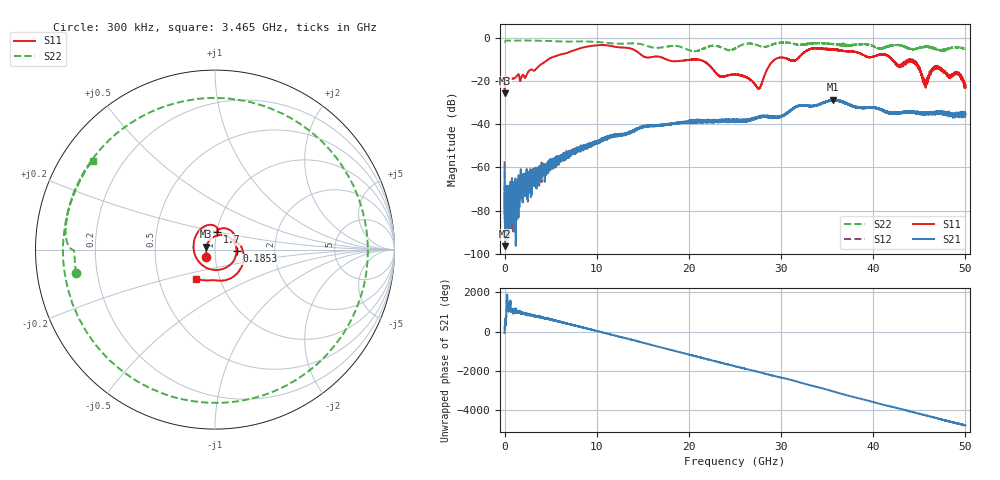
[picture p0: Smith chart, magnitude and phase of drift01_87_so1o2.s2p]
!Created with skrf (http://scikit-rf.org).
# Hz S RI R 50.0
!freq ReS11 ImS11 ReS21 ImS21 ReS12 ImS12 ReS22 ImS22
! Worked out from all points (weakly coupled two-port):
!   10001 points, 300 kHz to 50 GHz, reference 50 ohm
!   highest |S21| = -28.69 dB at 35.63 GHz (marker M1); lowest = -96.4 dB at 60.3 MHz (marker M2)
!   lowest |S11| = -25.8 dB at 5.3 MHz (marker M3), VSWR 1.11, Z = 45.3 + j1.41 ohm
!   |S11| at or under -10 dB: start of sweep to 4.767 GHz; 17.52 GHz to 29.4 GHz (11.88 GHz wide, 50.6 % of centre); 43.99 GHz to end of sweep (the widest 3 of 9)
!   |S22| runs from -6.4 to -1.4 dB; largest |S21 - S12| = 0.0048
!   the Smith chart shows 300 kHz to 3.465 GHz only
!   S11 on the Smith chart (normalised r, x): 300 kHz: 0.90, -0.08; 185.3 MHz: 1.27, -0.02; 1.7 GHz: 1.00, +0.20; 3.465 GHz: 0.77, -0.26
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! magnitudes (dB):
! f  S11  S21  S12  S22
! 300 kHz  -23.8  -59.0  -57.1  -2.1
! 5.3 MHz  -25.8  -72.8  -73.7  -2.1
! 60.3 MHz  -20.2  -96.4  -77.0  -1.6
! 185.3 MHz  -18.4  -73.0  -75.5  -1.4
! 710.3 MHz  -19.0  -74.6  -78.4  -1.5
! 1.7 GHz  -20.1  -68.0  -70.2  -1.4
! 3.465 GHz  -14.3  -65.0  -61.4  -1.5
! 8.335 GHz  -4.8  -50.8  -50.4  -1.8
! 16.67 GHz  -8.8  -40.7  -40.5  -4.8
! 21.21 GHz  -10.4  -38.8  -38.2  -5.8
! 25 GHz  -17.0  -38.3  -38.4  -5.1
! 27.59 GHz  -23.4  -36.9  -36.7  -3.8
! 29.28 GHz  -10.3  -36.5  -36.8  -2.9
! 31.47 GHz  -10.7  -32.3  -32.4  -2.9
! 33.34 GHz  -5.1  -31.7  -31.7  -2.7
! 35.63 GHz  -5.6  -28.7  -29.0  -3.0
! 41.67 GHz  -8.6  -35.2  -34.9  -4.0
! 42.79 GHz  -12.9  -34.7  -35.0  -3.6
! 44.43 GHz  -11.1  -34.8  -34.3  -5.4
! 45.63 GHz  -20.4  -34.9  -35.0  -4.3
! 46.94 GHz  -13.6  -34.4  -34.8  -5.4
! 50 GHz  -21.9  -35.4  -34.8  -5.3
